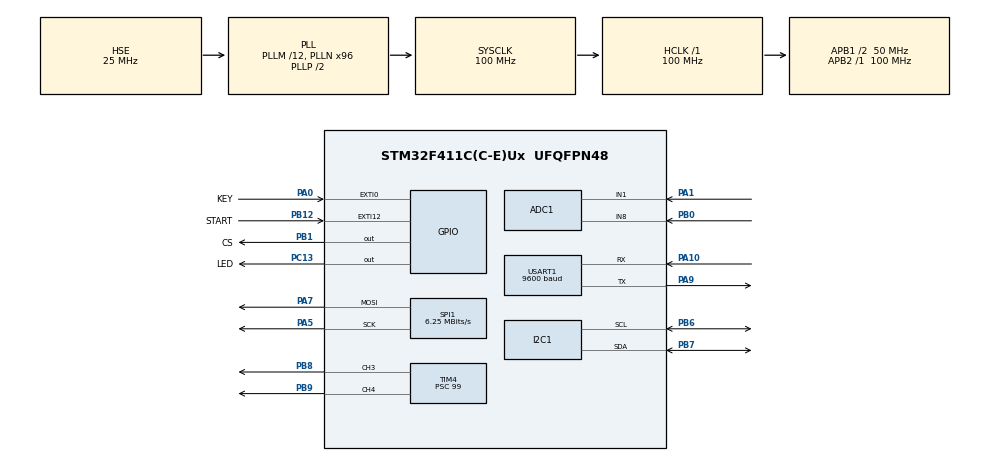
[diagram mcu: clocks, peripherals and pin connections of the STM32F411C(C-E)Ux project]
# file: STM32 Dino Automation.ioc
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ADC1.Channel-0\#ChannelRegularConversion=ADC_CHANNEL_1
ADC1.Channel-3\#ChannelRegularConversion=ADC_CHANNEL_8
ADC1.DMAContinuousRequests=ENABLE
ADC1.ExternalTrigConv=ADC_EXTERNALTRIGCONV_T2_TRGO
ADC1.InjNumberOfConversion=0
ADC1.NbrOfConversion=2
ADC1.NbrOfConversionFlag=1
ADC1.Rank-0\#ChannelRegularConversion=1
ADC1.Rank-3\#ChannelRegularConversion=2
ADC1.SamplingTime-0\#ChannelRegularConversion=ADC_SAMPLETIME_84CYCLES
ADC1.SamplingTime-3\#ChannelRegularConversion=ADC_SAMPLETIME_84CYCLES
ADC1.ScanConvMode=ENABLE
ADC1.master=1
Dma.ADC1.0.Direction=DMA_PERIPH_TO_MEMORY
Dma.ADC1.0.FIFOMode=DMA_FIFOMODE_DISABLE
Dma.ADC1.0.Instance=DMA2_Stream0
Dma.ADC1.0.MemDataAlignment=DMA_MDATAALIGN_HALFWORD
Dma.ADC1.0.MemInc=DMA_MINC_ENABLE
Dma.ADC1.0.Mode=DMA_CIRCULAR
Dma.ADC1.0.PeriphDataAlignment=DMA_PDATAALIGN_HALFWORD
Dma.ADC1.0.PeriphInc=DMA_PINC_DISABLE
Dma.ADC1.0.Priority=DMA_PRIORITY_LOW
Dma.Request0=ADC1
I2C1.I2C_Mode=I2C_Fast
IWDG.Prescaler=IWDG_PRESCALER_32
IWDG.Reload=999
Mcu.Family=STM32F4
Mcu.Name=STM32F411C(C-E)Ux
Mcu.Package=UFQFPN48
NVIC.DMA2_Stream0_IRQn=true\:0\:0\:false\:false\:true\:false\:true\:true
NVIC.EXTI0_IRQn=true\:0\:0\:false\:false\:true\:true\:true\:true
NVIC.EXTI15_10_IRQn=true\:0\:0\:false\:false\:true\:true\:true\:true
NVIC.PriorityGroup=NVIC_PRIORITYGROUP_4
NVIC.USART1_IRQn=true\:0\:0\:false\:false\:true\:true\:true\:true
PA0-WKUP.GPIO_Label=KEY
PA0-WKUP.GPIO_ModeDefaultEXTI=GPIO_MODE_IT_FALLING
PA0-WKUP.GPIO_PuPd=GPIO_PULLUP
PA0-WKUP.Signal=GPXTI0
PA1.Signal=ADCx_IN1
PA10.Mode=Asynchronous
PA10.Signal=USART1_RX
PA13.Mode=Serial_Wire
PA13.Signal=SYS_JTMS-SWDIO
PA14.Mode=Serial_Wire
PA14.Signal=SYS_JTCK-SWCLK
PA5.Mode=TX_Only_Simplex_Unidirect_Master
PA5.Signal=SPI1_SCK
PA7.Mode=TX_Only_Simplex_Unidirect_Master
PA7.Signal=SPI1_MOSI
PA9.Mode=Asynchronous
PA9.Signal=USART1_TX
PB0.Signal=ADCx_IN8
PB1.GPIO_Label=CS
PB1.PinState=GPIO_PIN_SET
PB1.Signal=GPIO_Output
PB12.GPIO_Label=START
PB12.GPIO_ModeDefaultEXTI=GPIO_MODE_IT_FALLING
PB12.GPIO_PuPd=GPIO_PULLUP
PB12.Signal=GPXTI12
PB6.Mode=I2C
PB6.Signal=I2C1_SCL
PB7.Mode=I2C
PB7.Signal=I2C1_SDA
PB8.Signal=S_TIM4_CH3
PB9.Signal=S_TIM4_CH4
PC13-ANTI_TAMP.GPIO_Label=LED
PC13-ANTI_TAMP.Signal=GPIO_Output
PH0\ -\ OSC_IN.Mode=HSE-External-Oscillator
PH0\ -\ OSC_IN.Signal=RCC_OSC_IN
PH1\ -\ OSC_OUT.Mode=HSE-External-Oscillator
PH1\ -\ OSC_OUT.Signal=RCC_OSC_OUT
ProjectManager.HeapSize=0x200
ProjectManager.StackSize=0x400
ProjectManager.TargetToolchain=STM32CubeIDE
RCC.48MHZClocksFreq_Value=50000000
RCC.AHBFreq_Value=100000000
RCC.APB1CLKDivider=RCC_HCLK_DIV2
RCC.APB1Freq_Value=50000000
RCC.APB1TimFreq_Value=100000000
RCC.APB2Freq_Value=100000000
RCC.APB2TimFreq_Value=100000000
RCC.CortexFreq_Value=100000000
RCC.HCLKFreq_Value=100000000
RCC.HSE_VALUE=25000000
RCC.HSI_VALUE=16000000
RCC.LSE_VALUE=32768
RCC.PLLM=12
RCC.PLLN=96
RCC.PLLSourceVirtual=RCC_PLLSOURCE_HSE
RCC.SYSCLKFreq_VALUE=100000000
RCC.SYSCLKSource=RCC_SYSCLKSOURCE_PLLCLK
RCC.VCOOutputFreq_Value=200000000
SH.ADCx_IN1.0=ADC1_IN1,IN1
SH.ADCx_IN8.0=ADC1_IN8,IN8
SH.S_TIM4_CH3.0=TIM4_CH3,PWM Generation3 CH3
SH.S_TIM4_CH4.0=TIM4_CH4,PWM Generation4 CH4
SPI1.BaudRatePrescaler=SPI_BAUDRATEPRESCALER_16
SPI1.CalculateBaudRate=6.25 MBits/s
SPI1.Direction=SPI_DIRECTION_2LINES
SPI1.Mode=SPI_MODE_MASTER
SPI1.VirtualType=VM_MASTER
TIM2.Period=99
TIM2.Prescaler=99
TIM2.TIM_MasterOutputTrigger=TIM_TRGO_UPDATE
TIM4.Channel-PWM\ Generation3\ CH3=TIM_CHANNEL_3
TIM4.Channel-PWM\ Generation4\ CH4=TIM_CHANNEL_4
TIM4.Period=19999
TIM4.Prescaler=99
USART1.BaudRate=9600
USART1.VirtualMode=VM_ASYNC
VP_IWDG_VS_IWDG.Mode=IWDG_Activate
VP_TIM2_VS_ClockSourceINT.Mode=Internal
VP_TIM4_VS_ClockSourceINT.Mode=Internal
board=custom

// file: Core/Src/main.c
/* USER CODE BEGIN Header */
// STM32 Dino automation - ENGS 251 project
/**
  ******************************************************************************
  * @file           : main.c
  * @brief          : Main program body
  ******************************************************************************
  * @attention
  *
  * Copyright (c) 2026 STMicroelectronics.
  * All rights reserved.
  *
  * This software is licensed under terms that can be found in the LICENSE file
  * in the root directory of this software component.
  * If no LICENSE file comes with this software, it is provided AS-IS.
  *
  *
  ******************************************************************************
  */
/* USER CODE END Header */
#include "main.h"
/* USER CODE BEGIN Includes */
#include <stdio.h>
#include <string.h>
#include "ssd1306.h"
#include "ssd1306_fonts.h"
#include "max7219.h"
/* USER CODE END Includes */

ADC_HandleTypeDef hadc1;
DMA_HandleTypeDef hdma_adc1;

I2C_HandleTypeDef hi2c1;

IWDG_HandleTypeDef hiwdg;

SPI_HandleTypeDef hspi1;

TIM_HandleTypeDef htim2;
TIM_HandleTypeDef htim4;

UART_HandleTypeDef huart1;

/* USER CODE BEGIN PV */
volatile uint8_t mode = 0; // 0 = Auto, 1 = Guitar
uint8_t oldMode = 0;
uint32_t lastPress = 0;
uint32_t lastBlink = 0;

// Jump Servo PB8
uint16_t jumpRest = 1500;
uint16_t jumpPress = 1800;
uint8_t jumpPressed = 0;
uint32_t jumpTime = 0;

// Duck Servo PB9
uint16_t duckRest = 1500;
uint16_t duckPress = 1800;
uint8_t duckPressed = 0;
uint32_t duckTime = 0;

// Screen
uint16_t jumps = 0;
uint16_t ducks = 0;
uint8_t updateScreen = 1;
char text[20];

// Guitar UART
uint8_t rxByte = 0;
volatile uint8_t command = 0; // 'H' or 'L'
volatile uint8_t command_flag = 0; // 1 - new command arrived

// LDR 1 and LDR 2
uint16_t adcValues[2];

// Obstacle detection
uint16_t threshold = 1950;
uint8_t obstacleDetected = 0;
uint16_t background = 0;

// Game
volatile uint8_t startPressed = 0;
uint8_t gameRunning = 0;
uint32_t gameStartTime = 0;

// Ducking (LDR C)
uint16_t backgroundC = 0;
uint16_t thresholdC = 0;
uint8_t birdDetected = 0; // 1 while a bird is over LDR C
uint16_t duckHold = 300; // how long to hold the down key (ms)

// Game over detection
uint32_t lastDarkTime = 0; // last time any LDR saw something dark
uint16_t gameOverTime = 5000; // both LDRs bright this long = game over (ms)

uint8_t arrowUp[8] = {0x08, 0x0C, 0x0E, 0xFF, 0xFF, 0x0E, 0x0C, 0x08};
uint8_t arrowDown[8] = {0x10, 0x30, 0x70, 0xFF, 0xFF, 0x70, 0x30, 0x10};
/* USER CODE END PV */

void SystemClock_Config(void);
static void MX_GPIO_Init(void);
static void MX_DMA_Init(void);
static void MX_TIM4_Init(void);
static void MX_I2C1_Init(void);
static void MX_USART1_UART_Init(void);
static void MX_IWDG_Init(void);
static void MX_ADC1_Init(void);
static void MX_TIM2_Init(void);
static void MX_SPI1_Init(void);

int main(void)
{

  /* MCU Configuration--------------------------------------------------------*/

  /* Reset of all peripherals, Initializes the Flash interface and the Systick. */
  HAL_Init();

  /* Configure the system clock */
  SystemClock_Config();

  /* Initialize all configured peripherals */
  MX_GPIO_Init();
  MX_DMA_Init();
  MX_TIM4_Init();
  MX_I2C1_Init();
  MX_USART1_UART_Init();
  MX_IWDG_Init();
  MX_ADC1_Init();
  MX_TIM2_Init();
  MX_SPI1_Init();
  /* USER CODE BEGIN 2 */

  HAL_UART_Receive_IT(&huart1, &rxByte, 1);
  HAL_TIM_PWM_Start(&htim4, TIM_CHANNEL_3); // jump servo
  HAL_TIM_PWM_Start(&htim4, TIM_CHANNEL_4); // duck servo
  TIM4->CCR3 = jumpRest;
  TIM4->CCR4 = duckRest;

  ssd1306_Init();
  MAX7219_Init();

  __HAL_DBGMCU_FREEZE_IWDG();

  HAL_ADC_Start_DMA(&hadc1, (uint32_t*)adcValues, 2);
  HAL_TIM_Base_Start(&htim2); // psc 99, arr 99

  /* USER CODE END 2 */

  /* Infinite loop */
  while (1)
  {

    /* USER CODE BEGIN 3 */
	  HAL_IWDG_Refresh(&hiwdg);

	  if (HAL_GetTick() - lastBlink >= (mode ? 100 : 500)) // Auto mode : slow, Guitar mode : fast
	  {
		  lastBlink = HAL_GetTick();
		  HAL_GPIO_TogglePin(LED_GPIO_Port, LED_Pin);
	  }

	  // Test if mode has been changed

	  if (mode != oldMode)
	  {

		  jumps = 0;
		  ducks = 0;
		  gameRunning = 0;
		  updateScreen = 1;
		  oldMode = mode;
	  }

	  // Start button
	  if (startPressed == 1)
	  {
		  startPressed = 0;

		  if (mode == 0)
		  {
			  if (gameRunning == 0)
			  {
				  // Starting a new round
				  TIM4->CCR3 = jumpPress;
				  jumpPressed = 1;
				  jumpTime = HAL_GetTick();
				  MAX7219_Show(arrowUp);

				  gameRunning = 1;
				  gameStartTime = HAL_GetTick();
				  jumps = 0;
				  ducks = 0;

				  background = adcValues[0];
				  threshold = background - 250;
				  obstacleDetected = 0;

				  backgroundC = adcValues[1];
				  thresholdC = backgroundC - 250;
				  birdDetected = 0;

				  lastDarkTime = HAL_GetTick(); // start counting from now
			  }
			  else
			  {
				  gameRunning = 0; // stop the game
			  }
			  updateScreen = 1;
		  }
	  }

	  // Auto mode: jump when LDR detects an obstacle
	  if (mode == 0 && gameRunning == 1)
	  {
		  // something dark on any LDR = the game is still running
		  if (adcValues[0] < threshold || adcValues[1] < thresholdC)
		  {
			  lastDarkTime = HAL_GetTick();
		  }

		  // both LDRs bright for too long = game over
		  if (HAL_GetTick() - lastDarkTime > gameOverTime)
		  {
			  gameRunning = 0; // back to PRESS START
			  updateScreen = 1;
		  }

		  // obstacle arrives
		  if (adcValues[0] < threshold && obstacleDetected == 0)
		  {
			  obstacleDetected = 1;
			  TIM4->CCR3 = jumpPress;
			  jumpPressed = 1;
			  jumpTime = HAL_GetTick();
			  MAX7219_Show(arrowUp);
			  jumps++;
			  updateScreen = 1;
		  }

		  // obstacle has passed
		  if (adcValues[0] > threshold + 100)
		  {
			  obstacleDetected = 0;
		  }

		  // bird at head height: LDR C dark, but LDR A still bright
		  if (adcValues[1] < thresholdC && birdDetected == 0)
		  {
			  birdDetected = 1;

			  if (adcValues[0] > threshold) // LDR A bright = not a cactus
			  {
				  TIM4->CCR4 = duckPress;
				  duckPressed = 1;
				  duckTime = HAL_GetTick();
				  MAX7219_Show(arrowDown);
				  duckHold = 800; // stay down until the bird has passed
				  ducks++;
				  updateScreen = 1;
			  }
		  }

		  // bird has passed LDR C
		  if (adcValues[1] > thresholdC + 100)
		  {
			  birdDetected = 0;
		  }
	  }

	  // Guitar Mode

	  if (command_flag == 1)
	  {
		  if (mode == 1)
		  {
			  if (command == 'H')
			  {
				  TIM4->CCR3 = jumpPress;
				  jumpPressed = 1;
				  jumpTime = HAL_GetTick();
				  MAX7219_Show(arrowUp);
				  jumps++;
				  updateScreen = 1;
			  }
			  if (command == 'L')
			  {
				  TIM4->CCR4 = duckPress;
				  duckPressed = 1;
				  duckTime = HAL_GetTick();
				  MAX7219_Show(arrowDown);
				  duckHold = 300;
				  ducks++;
				  updateScreen = 1;
			  }
		  }
		  command_flag = 0;
	  }

	  // Release jump after 200 ms
	  if (jumpPressed == 1 && HAL_GetTick() - jumpTime > 200)
	  {
		  TIM4->CCR3 = jumpRest;
		  jumpPressed = 0;
		  MAX7219_Clear();
	  }

	  // Release duck after duckHold ms
	  if (duckPressed == 1 && HAL_GetTick() - duckTime > duckHold)
	  {
		  TIM4->CCR4 = duckRest;
		  duckPressed = 0;
		  MAX7219_Clear();
	  }

	  // Redraw the screen
	  if (updateScreen == 1)
	  {
		  ssd1306_Fill(Black);

		  if (mode == 0)
		  {
			  if (gameRunning == 1)
			  	{
				  sprintf(text, "AUTO MODE");
			  	}
			  else
			  {
				  sprintf(text, "PRESS START");
			  }
		  }
		  else
		  {
			  sprintf(text, "GUITAR MODE");
		  }
		  ssd1306_SetCursor(0,0);
		  ssd1306_WriteString(text, Font_11x18, White);

		  sprintf(text, "Jumps: %d", jumps);
		  ssd1306_SetCursor(0, 22);
		  ssd1306_WriteString(text, Font_11x18, White);

		  sprintf(text, "Ducks: %d", ducks);
		  ssd1306_SetCursor(0, 44);
		  ssd1306_WriteString(text, Font_11x18, White);

		  ssd1306_UpdateScreen();
		  updateScreen = 0;
	  }

  }
  /* USER CODE END 3 */
}

void SystemClock_Config(void)
{
  RCC_OscInitTypeDef RCC_OscInitStruct = {0};
  RCC_ClkInitTypeDef RCC_ClkInitStruct = {0};

  /** Configure the main internal regulator output voltage
  */
  __HAL_RCC_PWR_CLK_ENABLE();
  __HAL_PWR_VOLTAGESCALING_CONFIG(PWR_REGULATOR_VOLTAGE_SCALE1);

  /** Initializes the RCC Oscillators according to the specified parameters
  * in the RCC_OscInitTypeDef structure.
  */
  RCC_OscInitStruct.OscillatorType = RCC_OSCILLATORTYPE_LSI|RCC_OSCILLATORTYPE_HSE;
  RCC_OscInitStruct.HSEState = RCC_HSE_ON;
  RCC_OscInitStruct.LSIState = RCC_LSI_ON;
  RCC_OscInitStruct.PLL.PLLState = RCC_PLL_ON;
  RCC_OscInitStruct.PLL.PLLSource = RCC_PLLSOURCE_HSE;
  RCC_OscInitStruct.PLL.PLLM = 12;
  RCC_OscInitStruct.PLL.PLLN = 96;
  RCC_OscInitStruct.PLL.PLLP = RCC_PLLP_DIV2;
  RCC_OscInitStruct.PLL.PLLQ = 4;
  if (HAL_RCC_OscConfig(&RCC_OscInitStruct) != HAL_OK)
  {
    Error_Handler();
  }

  /** Initializes the CPU, AHB and APB buses clocks
  */
  RCC_ClkInitStruct.ClockType = RCC_CLOCKTYPE_HCLK|RCC_CLOCKTYPE_SYSCLK
                              |RCC_CLOCKTYPE_PCLK1|RCC_CLOCKTYPE_PCLK2;
  RCC_ClkInitStruct.SYSCLKSource = RCC_SYSCLKSOURCE_PLLCLK;
  RCC_ClkInitStruct.AHBCLKDivider = RCC_SYSCLK_DIV1;
  RCC_ClkInitStruct.APB1CLKDivider = RCC_HCLK_DIV2;
  RCC_ClkInitStruct.APB2CLKDivider = RCC_HCLK_DIV1;

  if (HAL_RCC_ClockConfig(&RCC_ClkInitStruct, FLASH_LATENCY_3) != HAL_OK)
  {
    Error_Handler();
  }
}

static void MX_ADC1_Init(void)
{

  ADC_ChannelConfTypeDef sConfig = {0};

  /** Configure the global features of the ADC (Clock, Resolution, Data Alignment and number of conversion)
  */
  hadc1.Instance = ADC1;
  hadc1.Init.ClockPrescaler = ADC_CLOCK_SYNC_PCLK_DIV4;
  hadc1.Init.Resolution = ADC_RESOLUTION_12B;
  hadc1.Init.ScanConvMode = ENABLE;
  hadc1.Init.ContinuousConvMode = DISABLE;
  hadc1.Init.DiscontinuousConvMode = DISABLE;
  hadc1.Init.ExternalTrigConvEdge = ADC_EXTERNALTRIGCONVEDGE_RISING;
  hadc1.Init.ExternalTrigConv = ADC_EXTERNALTRIGCONV_T2_TRGO;
  hadc1.Init.DataAlign = ADC_DATAALIGN_RIGHT;
  hadc1.Init.NbrOfConversion = 2;
  hadc1.Init.DMAContinuousRequests = ENABLE;
  hadc1.Init.EOCSelection = ADC_EOC_SINGLE_CONV;
  if (HAL_ADC_Init(&hadc1) != HAL_OK)
  {
    Error_Handler();
  }

  /** Configure for the selected ADC regular channel its corresponding rank in the sequencer and its sample time.
  */
  sConfig.Channel = ADC_CHANNEL_1;
  sConfig.Rank = 1;
  sConfig.SamplingTime = ADC_SAMPLETIME_84CYCLES;
  if (HAL_ADC_ConfigChannel(&hadc1, &sConfig) != HAL_OK)
  {
    Error_Handler();
  }

  /** Configure for the selected ADC regular channel its corresponding rank in the sequencer and its sample time.
  */
  sConfig.Channel = ADC_CHANNEL_8;
  sConfig.Rank = 2;
  if (HAL_ADC_ConfigChannel(&hadc1, &sConfig) != HAL_OK)
  {
    Error_Handler();
  }

}

static void MX_I2C1_Init(void)
{

  hi2c1.Instance = I2C1;
  hi2c1.Init.ClockSpeed = 400000;
  hi2c1.Init.DutyCycle = I2C_DUTYCYCLE_2;
  hi2c1.Init.OwnAddress1 = 0;
  hi2c1.Init.AddressingMode = I2C_ADDRESSINGMODE_7BIT;
  hi2c1.Init.DualAddressMode = I2C_DUALADDRESS_DISABLE;
  hi2c1.Init.OwnAddress2 = 0;
  hi2c1.Init.GeneralCallMode = I2C_GENERALCALL_DISABLE;
  hi2c1.Init.NoStretchMode = I2C_NOSTRETCH_DISABLE;
  if (HAL_I2C_Init(&hi2c1) != HAL_OK)
  {
    Error_Handler();
  }

}

static void MX_IWDG_Init(void)
{

  hiwdg.Instance = IWDG;
  hiwdg.Init.Prescaler = IWDG_PRESCALER_32;
  hiwdg.Init.Reload = 999;
  if (HAL_IWDG_Init(&hiwdg) != HAL_OK)
  {
    Error_Handler();
  }

}

static void MX_SPI1_Init(void)
{

  /* SPI1 parameter configuration*/
  hspi1.Instance = SPI1;
  hspi1.Init.Mode = SPI_MODE_MASTER;
  hspi1.Init.Direction = SPI_DIRECTION_2LINES;
  hspi1.Init.DataSize = SPI_DATASIZE_8BIT;
  hspi1.Init.CLKPolarity = SPI_POLARITY_LOW;
  hspi1.Init.CLKPhase = SPI_PHASE_1EDGE;
  hspi1.Init.NSS = SPI_NSS_SOFT;
  hspi1.Init.BaudRatePrescaler = SPI_BAUDRATEPRESCALER_16;
  hspi1.Init.FirstBit = SPI_FIRSTBIT_MSB;
  hspi1.Init.TIMode = SPI_TIMODE_DISABLE;
  hspi1.Init.CRCCalculation = SPI_CRCCALCULATION_DISABLE;
  hspi1.Init.CRCPolynomial = 10;
  if (HAL_SPI_Init(&hspi1) != HAL_OK)
  {
    Error_Handler();
  }

}

static void MX_TIM2_Init(void)
{

  TIM_ClockConfigTypeDef sClockSourceConfig = {0};
  TIM_MasterConfigTypeDef sMasterConfig = {0};

  htim2.Instance = TIM2;
  htim2.Init.Prescaler = 99;
  htim2.Init.CounterMode = TIM_COUNTERMODE_UP;
  htim2.Init.Period = 99;
  htim2.Init.ClockDivision = TIM_CLOCKDIVISION_DIV1;
  htim2.Init.AutoReloadPreload = TIM_AUTORELOAD_PRELOAD_DISABLE;
  if (HAL_TIM_Base_Init(&htim2) != HAL_OK)
  {
    Error_Handler();
  }
  sClockSourceConfig.ClockSource = TIM_CLOCKSOURCE_INTERNAL;
  if (HAL_TIM_ConfigClockSource(&htim2, &sClockSourceConfig) != HAL_OK)
  {
    Error_Handler();
  }
  sMasterConfig.MasterOutputTrigger = TIM_TRGO_UPDATE;
  sMasterConfig.MasterSlaveMode = TIM_MASTERSLAVEMODE_DISABLE;
  if (HAL_TIMEx_MasterConfigSynchronization(&htim2, &sMasterConfig) != HAL_OK)
  {
    Error_Handler();
  }

}

static void MX_TIM4_Init(void)
{

  TIM_ClockConfigTypeDef sClockSourceConfig = {0};
  TIM_MasterConfigTypeDef sMasterConfig = {0};
  TIM_OC_InitTypeDef sConfigOC = {0};

  htim4.Instance = TIM4;
  htim4.Init.Prescaler = 99;
  htim4.Init.CounterMode = TIM_COUNTERMODE_UP;
  htim4.Init.Period = 19999;
  htim4.Init.ClockDivision = TIM_CLOCKDIVISION_DIV1;
  htim4.Init.AutoReloadPreload = TIM_AUTORELOAD_PRELOAD_DISABLE;
  if (HAL_TIM_Base_Init(&htim4) != HAL_OK)
  {
    Error_Handler();
  }
  sClockSourceConfig.ClockSource = TIM_CLOCKSOURCE_INTERNAL;
  if (HAL_TIM_ConfigClockSource(&htim4, &sClockSourceConfig) != HAL_OK)
  {
    Error_Handler();
  }
  if (HAL_TIM_PWM_Init(&htim4) != HAL_OK)
  {
    Error_Handler();
  }
  sMasterConfig.MasterOutputTrigger = TIM_TRGO_RESET;
  sMasterConfig.MasterSlaveMode = TIM_MASTERSLAVEMODE_DISABLE;
  if (HAL_TIMEx_MasterConfigSynchronization(&htim4, &sMasterConfig) != HAL_OK)
  {
    Error_Handler();
  }
  sConfigOC.OCMode = TIM_OCMODE_PWM1;
  sConfigOC.Pulse = 0;
  sConfigOC.OCPolarity = TIM_OCPOLARITY_HIGH;
  sConfigOC.OCFastMode = TIM_OCFAST_DISABLE;
  if (HAL_TIM_PWM_ConfigChannel(&htim4, &sConfigOC, TIM_CHANNEL_3) != HAL_OK)
  {
    Error_Handler();
  }
  if (HAL_TIM_PWM_ConfigChannel(&htim4, &sConfigOC, TIM_CHANNEL_4) != HAL_OK)
  {
    Error_Handler();
  }
  HAL_TIM_MspPostInit(&htim4);

}

static void MX_USART1_UART_Init(void)
{

  huart1.Instance = USART1;
  huart1.Init.BaudRate = 9600;
  huart1.Init.WordLength = UART_WORDLENGTH_8B;
  huart1.Init.StopBits = UART_STOPBITS_1;
  huart1.Init.Parity = UART_PARITY_NONE;
  huart1.Init.Mode = UART_MODE_TX_RX;
  huart1.Init.HwFlowCtl = UART_HWCONTROL_NONE;
  huart1.Init.OverSampling = UART_OVERSAMPLING_16;
  if (HAL_UART_Init(&huart1) != HAL_OK)
  {
    Error_Handler();
  }

}

static void MX_DMA_Init(void)
{

  /* DMA controller clock enable */
  __HAL_RCC_DMA2_CLK_ENABLE();

  /* DMA interrupt init */
  /* DMA2_Stream0_IRQn interrupt configuration */
  HAL_NVIC_SetPriority(DMA2_Stream0_IRQn, 0, 0);
  HAL_NVIC_EnableIRQ(DMA2_Stream0_IRQn);

}

static void MX_GPIO_Init(void)
{
  GPIO_InitTypeDef GPIO_InitStruct = {0};

  /* GPIO Ports Clock Enable */
  __HAL_RCC_GPIOC_CLK_ENABLE();
  __HAL_RCC_GPIOH_CLK_ENABLE();
  __HAL_RCC_GPIOA_CLK_ENABLE();
  __HAL_RCC_GPIOB_CLK_ENABLE();

  /*Configure GPIO pin Output Level */
  HAL_GPIO_WritePin(LED_GPIO_Port, LED_Pin, GPIO_PIN_RESET);

  /*Configure GPIO pin Output Level */
  HAL_GPIO_WritePin(CS_GPIO_Port, CS_Pin, GPIO_PIN_SET);

  /*Configure GPIO pin : LED_Pin */
  GPIO_InitStruct.Pin = LED_Pin;
  GPIO_InitStruct.Mode = GPIO_MODE_OUTPUT_PP;
  GPIO_InitStruct.Pull = GPIO_NOPULL;
  GPIO_InitStruct.Speed = GPIO_SPEED_FREQ_LOW;
  HAL_GPIO_Init(LED_GPIO_Port, &GPIO_InitStruct);

  /*Configure GPIO pin : KEY_Pin */
  GPIO_InitStruct.Pin = KEY_Pin;
  GPIO_InitStruct.Mode = GPIO_MODE_IT_FALLING;
  GPIO_InitStruct.Pull = GPIO_PULLUP;
  HAL_GPIO_Init(KEY_GPIO_Port, &GPIO_InitStruct);

  /*Configure GPIO pin : CS_Pin */
  GPIO_InitStruct.Pin = CS_Pin;
  GPIO_InitStruct.Mode = GPIO_MODE_OUTPUT_PP;
  GPIO_InitStruct.Pull = GPIO_NOPULL;
  GPIO_InitStruct.Speed = GPIO_SPEED_FREQ_LOW;
  HAL_GPIO_Init(CS_GPIO_Port, &GPIO_InitStruct);

  /*Configure GPIO pin : START_Pin */
  GPIO_InitStruct.Pin = START_Pin;
  GPIO_InitStruct.Mode = GPIO_MODE_IT_FALLING;
  GPIO_InitStruct.Pull = GPIO_PULLUP;
  HAL_GPIO_Init(START_GPIO_Port, &GPIO_InitStruct);

  /* EXTI interrupt init*/
  HAL_NVIC_SetPriority(EXTI0_IRQn, 0, 0);
  HAL_NVIC_EnableIRQ(EXTI0_IRQn);

  HAL_NVIC_SetPriority(EXTI15_10_IRQn, 0, 0);
  HAL_NVIC_EnableIRQ(EXTI15_10_IRQn);

}

/* USER CODE BEGIN 4 */
void HAL_GPIO_EXTI_Callback(uint16_t GPIO_Pin)
{
	if (GPIO_Pin == KEY_Pin && HAL_GetTick() - lastPress > 200)
	{
		lastPress = HAL_GetTick();
		mode = !mode;
	}

	if (GPIO_Pin == START_Pin && HAL_GetTick() - lastPress > 300)
	{
		lastPress = HAL_GetTick();
		startPressed = 1;
	}
}

void HAL_UART_RxCpltCallback(UART_HandleTypeDef *huart)
{
	if (huart->Instance == USART1)
	{
		command = rxByte;
		command_flag = 1;
		HAL_UART_Receive_IT(&huart1, &rxByte, 1);
	}
}

void HAL_UART_ErrorCallback(UART_HandleTypeDef *huart)
{
	if (huart->Instance == USART1)
	{
		HAL_UART_Receive_IT(&huart1, &rxByte, 1);
	}
}
/* USER CODE END 4 */

void Error_Handler(void)
{
  __disable_irq();
  while (1)
  {
  }
}
